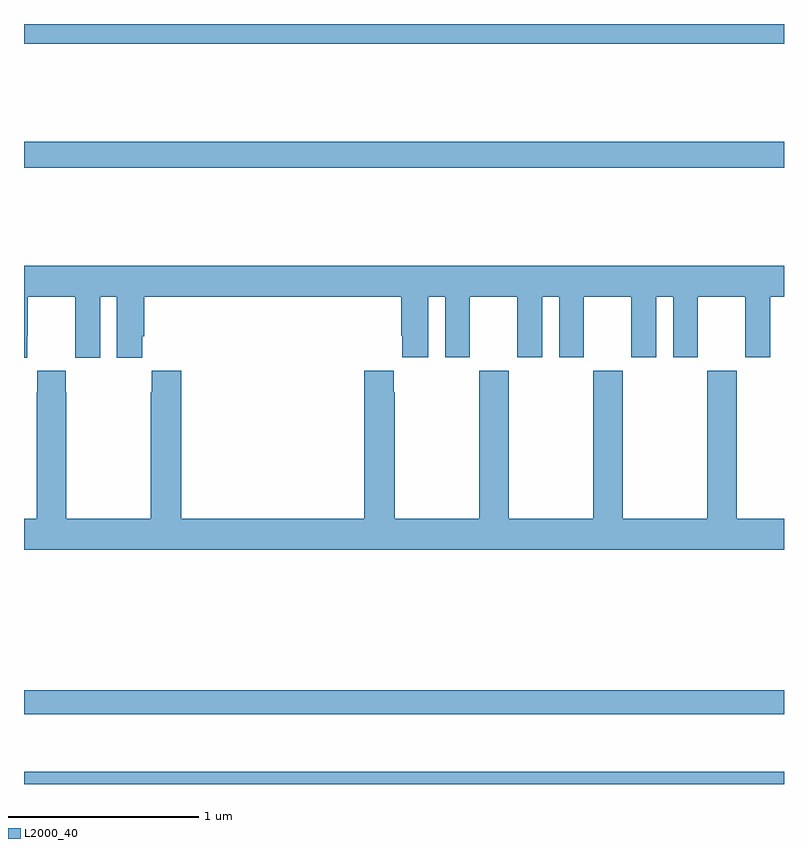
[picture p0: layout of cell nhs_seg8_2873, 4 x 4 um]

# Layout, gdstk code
import gdstk
lib = gdstk.Library(unit=1e-6, precision=1e-09)
def R(c, l, rs):  # rectangles x0, y0, x1, y1
    for r in rs: c.add(gdstk.rectangle(r[:2], r[2:], *l))
def P(c, l, *ps):  # polygons
    for p in ps: c.add(gdstk.Polygon(p, *l))
L2000_40 = (2000, 40)

nhs_seg8_2873 = lib.new_cell('nhs_seg8_2873')
R(nhs_seg8_2873, L2000_40, [(291,1149.9,295,1149.964), (291,1150.266,295,1150.394), (291,1153.144,295,1153.28), (291,1153.796,295,1153.9)])
P(nhs_seg8_2873, L2000_40, [(291.018,1152.256),(291.019,1152.256),(291.019,1152.464),(291.269,1152.464),(291.269,1152.256),(291.27,1152.256),(291.27,1152.144),(291.4,1152.144),(291.4,1152.464),(291.488,1152.464),(291.488,1152.144),(291.622,1152.144),(291.622,1152.256),(291.632,1152.256),(291.632,1152.464),(292.985,1152.464),(292.985,1152.259),(292.991,1152.259),(292.991,1152.147),(293.128,1152.147),(293.128,1152.464),(293.216,1152.464),(293.216,1152.147),(293.347,1152.147),(293.347,1152.464),(293.597,1152.464),(293.597,1152.147),(293.728,1152.147),(293.728,1152.464),(293.816,1152.464),(293.816,1152.147),(293.947,1152.147),(293.947,1152.464),(294.197,1152.464),(294.197,1152.147),(294.328,1152.147),(294.328,1152.464),(294.416,1152.464),(294.416,1152.147),(294.547,1152.147),(294.547,1152.464),(294.797,1152.464),(294.797,1152.147),(294.928,1152.147),(294.928,1152.464),(295,1152.464),(295,1152.628),(291,1152.628),(291,1152.144),(291.018,1152.144)],
  [(295,1151.296),(294.75,1151.296),(294.75,1152.076),(294.595,1152.076),(294.595,1151.296),(294.15,1151.296),(294.15,1152.076),(293.995,1152.076),(293.995,1151.296),(293.55,1151.296),(293.55,1152.076),(293.395,1152.076),(293.395,1151.296),(292.95,1151.296),(292.95,1151.963),(292.945,1151.963),(292.945,1152.076),(292.79,1152.076),(292.79,1151.296),(291.827,1151.296),(291.827,1152.076),(291.673,1152.076),(291.673,1151.963),(291.667,1151.963),(291.667,1151.296),(291.222,1151.296),(291.222,1151.963),(291.219,1151.963),(291.219,1152.076),(291.069,1152.076),(291.069,1151.963),(291.067,1151.963),(291.067,1151.296),(291,1151.296),(291,1151.132),(295,1151.132)])

lib.write_gds('nhs_seg8_2873.gds')
